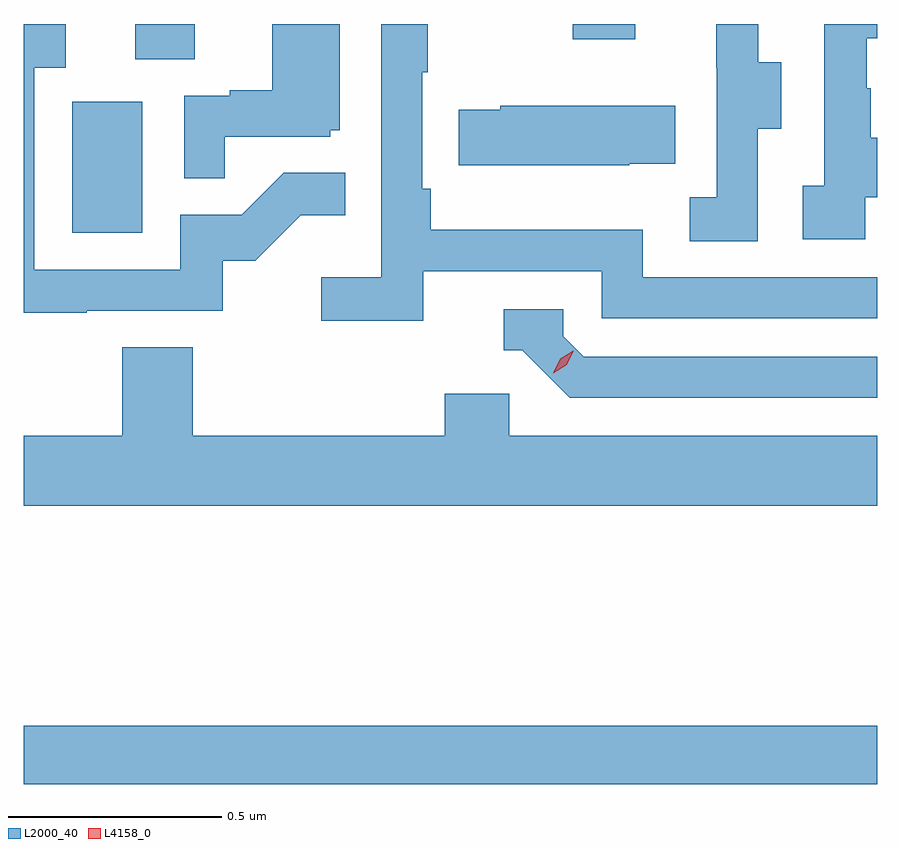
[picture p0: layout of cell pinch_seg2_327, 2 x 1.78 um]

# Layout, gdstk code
import gdstk
lib = gdstk.Library(unit=1e-6, precision=1e-09)
def R(c, l, rs):  # rectangles x0, y0, x1, y1
    for r in rs: c.add(gdstk.rectangle(r[:2], r[2:], *l))
def P(c, l, *ps):  # polygons
    for p in ps: c.add(gdstk.Polygon(p, *l))
L2000_40 = (2000, 40)
L4158_0 = (4158, 0)

pinch_seg2_327 = lib.new_cell('pinch_seg2_327')
R(pinch_seg2_327, L2000_40, [(948.422,625.672,950.422,625.808), (948.536,626.964,948.7,627.271), (948.683,627.37,948.823,627.453), (949.708,627.417,949.855,627.453)])
P(pinch_seg2_327, L2000_40, [(949.358,626.874),(949.776,626.874),(949.776,626.763),(950.422,626.763),(950.422,626.859),(949.872,626.859),(949.872,626.971),(949.376,626.971),(949.376,627.067),(949.356,627.067),(949.356,627.34),(949.369,627.34),(949.369,627.453),(949.26,627.453),(949.26,626.86),(949.119,626.86),(949.119,626.758),(949.358,626.758)],
  [(948.893,627.189),(949.14,627.189),(949.14,627.204),(949.162,627.204),(949.162,627.453),(949.004,627.453),(949.004,627.298),(948.905,627.298),(948.905,627.285),(948.798,627.285),(948.798,627.091),(948.893,627.091)],
  [(948.569,626.781),(948.888,626.781),(948.888,626.898),(948.964,626.898),(949.071,627.005),(949.175,627.005),(949.175,627.104),(949.031,627.104),(948.933,627.006),(948.789,627.006),(948.789,626.877),(948.447,626.877),(948.447,627.351),(948.52,627.351),(948.52,627.453),(948.422,627.453),(948.422,626.776),(948.569,626.776)],
  [(950.394,627.047),(950.422,627.047),(950.422,627.187),(950.407,627.187),(950.407,627.302),(950.397,627.302),(950.397,627.42),(950.422,627.42),(950.422,627.453),(950.298,627.453),(950.298,627.074),(950.247,627.074),(950.247,626.949),(950.394,626.949)],
  [(950.142,627.208),(950.197,627.208),(950.197,627.363),(950.143,627.363),(950.143,627.453),(950.045,627.453),(950.045,627.351),(950.046,627.351),(950.046,627.047),(949.983,627.047),(949.983,626.944),(950.142,626.944)],
  [(949.841,627.125),(949.949,627.125),(949.949,627.262),(949.539,627.262),(949.539,627.252),(949.441,627.252),(949.441,627.122),(949.841,627.122)],
  [(950.422,626.673),(949.734,626.673),(949.686,626.721),(949.686,626.784),(949.547,626.784),(949.547,626.688),(949.59,626.688),(949.701,626.577),(950.422,626.577)],
  [(950.422,626.488),(949.56,626.488),(949.56,626.586),(949.409,626.586),(949.409,626.488),(948.818,626.488),(948.818,626.696),(948.653,626.696),(948.653,626.488),(948.422,626.488),(948.422,626.324),(950.422,626.324)])
P(pinch_seg2_327, L4158_0, [(949.663,626.635),(949.663,626.635),(949.679,626.668),(949.71,626.687),(949.71,626.687),(949.71,626.686),(949.694,626.654),(949.663,626.635)])

lib.write_gds('pinch_seg2_327.gds')
